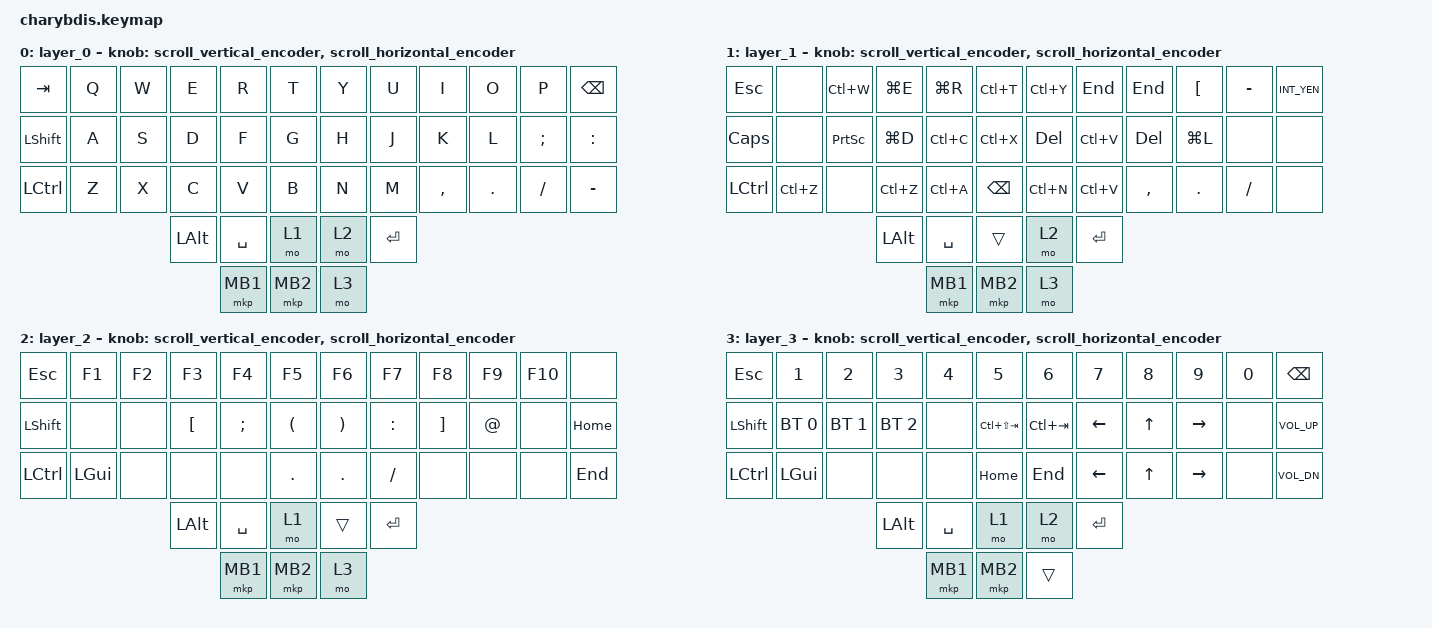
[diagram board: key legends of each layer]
#include <behaviors.dtsi>
#include <dt-bindings/zmk/bt.h>
#include <dt-bindings/zmk/keys.h>
#include <dt-bindings/zmk/rgb.h>
#include <dt-bindings/zmk/outputs.h>
#include <dt-bindings/zmk/pointing.h>
#include <dt-bindings/zmk/mouse.h>
#include <input/processors.dtsi>
#include <zephyr/dt-bindings/input/input-event-codes.h>

#define ZMK_POINTING_DEFAULT_MOVE_VAL 1000
#define ZMK_POINTING_DEFAULT_SCRL_VAL 12

/* 速度倍率（例）:
 * いま 2/1 (=2倍) になっているなら、
 * 1.1倍にしたい場合は 11/10 にできます（小数は使わず分数で調整）
 * 例: <&zip_xy_scaler 11 10>
 */
&mmv_input_listener { input-processors = <&zip_xy_scaler 2 1>; };
&msc_input_listener { input-processors = <&zip_scroll_scaler 2 1>; };

&msc {
    acceleration-exponent = <0>;
    time-to-max-speed-ms = <100>;
    delay-ms = <0>;
};

&mmv {
    time-to-max-speed-ms = <300>;
    acceleration-exponent = <1>;
    trigger-period-ms = <16>;
};

/ {
    /* Encoder behaviors */
    scroll_vertical_encoder: scroll_vertical_encoder {
        compatible = "zmk,behavior-sensor-rotate";
        #sensor-binding-cells = <0>;
        bindings = <&msc SCRL_DOWN>, <&msc SCRL_UP>;
        tap-ms = <100>;
    };

    scroll_horizontal_encoder: scroll_horizontal_encoder {
        compatible = "zmk,behavior-sensor-rotate";
        #sensor-binding-cells = <0>;
        bindings = <&msc SCRL_LEFT>, <&msc SCRL_RIGHT>;
        tap-ms = <100>;
    };

    behaviors {
    };

    keymap {
        compatible = "zmk,keymap";

        /* =========================
         * layer0 (Base)
         * ========================= */
        layer_0 {
            bindings = <
        
                &kp TAB         &kp Q    &kp W    &kp E    &kp R    &kp T       &kp Y    &kp U    &kp I    &kp O    &kp P      &kp BACKSPACE
                &kp LSHIFT      &kp A    &kp S    &kp D    &kp F    &kp G       &kp H    &kp J    &kp K    &kp L    &kp SEMI   &kp COLON
                &kp LCTRL       &kp Z    &kp X    &kp C    &kp V    &kp B       &kp N    &kp M    &kp COMMA &kp DOT  &kp FSLH   &kp MINUS

                                              &kp LALT   &kp SPACE  &mo 1      &mo 2     &kp ENTER
                                                        &mkp MB1   &mkp MB2   &mo 3
            >;

            sensor-bindings =
                <&scroll_vertical_encoder>,
                <&scroll_horizontal_encoder>;
        };

        /* =========================
         * layer1
         * （表のとおり：home / win+r / win+d / ctrl+c / ctrl+v / BS など）
         * ※ PrintScreen は PSCRN
         * ========================= */
        layer_1 {
            bindings = <

                &kp ESC         &none      &kp LC(W)  &kp LG(E)   &kp LG(R)  &kp LC(T)       &kp LC(Y)    &kp END      &kp END    &kp LBKT   &kp MINUS   &kp INT_YEN
                &kp CAPS        &none      &kp PSCRN  &kp LG(D)   &kp LC(C)  &kp LC(X)      &kp DEL    &kp LC(V)    &kp DEL    &kp LG(L)  &none      &none
                &kp LCTRL       &kp LC(Z)  &none      &kp LC(Z)   &kp LC(A)  &kp BACKSPACE  &kp LC(N)  &kp LC(V)    &kp COMMA  &kp DOT    &kp FSLH   &none

                                              &kp LALT   &kp SPACE  &trans           &mo 2     &kp ENTER
                                                         &mkp MB1   &mkp MB2         &mo 3
            >;

            sensor-bindings =
                <&scroll_vertical_encoder>,
                <&scroll_horizontal_encoder>;
        };

        /* =========================
         * layer2 (US記号 + Fキー / nav)
         * ========================= */
        layer_2 {
            bindings = <
                &kp ESC         &kp F1    &kp F2   &kp F3    &kp F4     &kp F5      &kp F6     &kp F7      &kp F8    &kp F9     &kp F10    &none
                &kp LSHIFT      &none     &none    &kp LBKT  &kp SEMI   &kp LPAR    &kp RPAR   &kp COLON   &kp RBKT  &kp AT     &none      &kp HOME
                &kp LCTRL       &kp LGUI  &none    &none     &none      &kp DOT     &kp DOT    &kp FSLH    &none     &none      &none      &kp END

                                              &kp LALT   &kp SPACE  &mo 1      &trans    &kp ENTER
                                                        &mkp MB1   &mkp MB2   &mo 3
            >;

            sensor-bindings =
                <&scroll_vertical_encoder>,
                <&scroll_horizontal_encoder>;
        };

        /* =========================
         * layer3 (M1..M10 + arrows + volume)
         * ========================= */
        layer_3 {
            bindings = <
                &kp ESC         &kp N1   &kp N2   &kp N3   &kp N4   &kp N5      &kp N6   &kp N7   &kp N8   &kp N9   &kp N0     &kp BACKSPACE
                &kp LSHIFT      &bt BT_SEL 0    &bt BT_SEL 1   &bt BT_SEL 2    &none    &kp LC(LS(TAB))       &kp LC(TAB)    &kp LEFT &kp UP  &kp RIGHT &none     &kp C_VOL_UP
                &kp LCTRL       &kp LGUI &none    &none    &none    &kp HOME       &kp END    &kp LEFT &kp UP  &kp RIGHT    &none      &kp C_VOL_DN

                                              &kp LALT   &kp SPACE  &mo 1      &mo 2     &kp ENTER
                                                        &mkp MB1   &mkp MB2   &trans
            >;

            sensor-bindings =
                <&scroll_vertical_encoder>,
                <&scroll_horizontal_encoder>;
        };
    };
};
